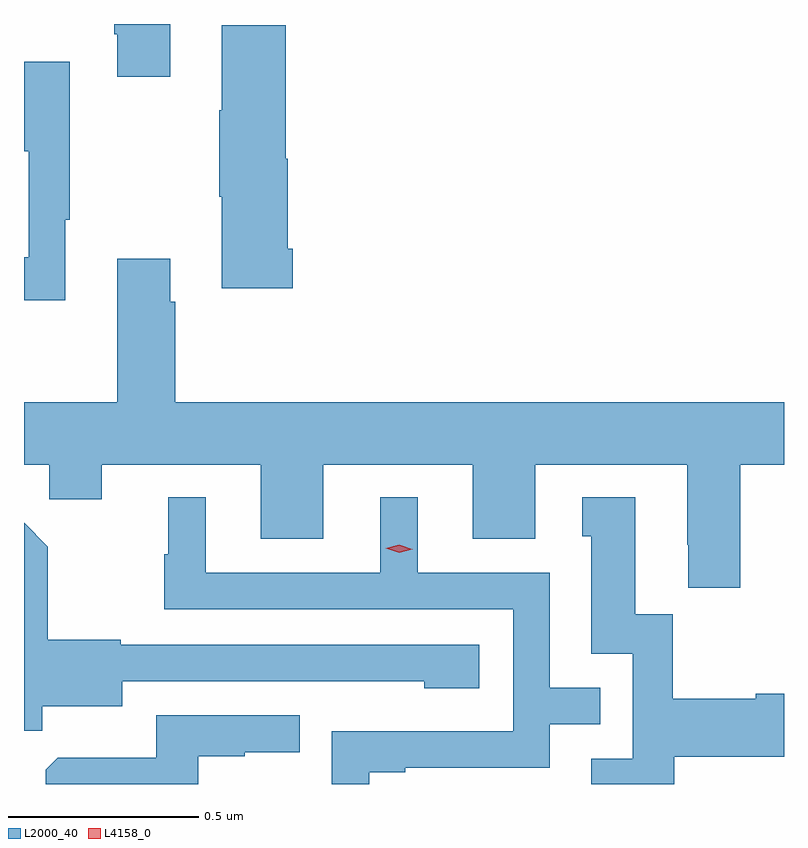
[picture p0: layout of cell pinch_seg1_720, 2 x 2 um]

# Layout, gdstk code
import gdstk
lib = gdstk.Library(unit=1e-6, precision=1e-09)
def P(c, l, *ps):  # polygons
    for p in ps: c.add(gdstk.Polygon(p, *l))
L2000_40 = (2000, 40)
L4158_0 = (4158, 0)

pinch_seg1_720 = lib.new_cell('pinch_seg1_720')
P(pinch_seg1_720, L2000_40, [(745.945,576.868),(745.798,576.868),(745.798,576.841),(745.805,576.841),(745.805,576.729),(745.945,576.729)],
  [(746.267,576.277),(746.254,576.277),(746.254,576.513),(746.249,576.513),(746.249,576.865),(746.081,576.865),(746.081,576.641),(746.074,576.641),(746.074,576.413),(746.081,576.413),(746.081,576.173),(746.267,576.173)],
  [(745.669,576.353),(745.681,576.353),(745.681,576.769),(745.56,576.769),(745.56,576.533),(745.572,576.533),(745.572,576.254),(745.56,576.254),(745.56,576.141),(745.669,576.141)],
  [(747.445,575.708),(747.56,575.708),(747.56,575.872),(745.958,575.872),(745.958,576.137),(745.945,576.137),(745.945,576.25),(745.805,576.25),(745.805,575.872),(745.56,575.872),(745.56,575.708),(745.627,575.708),(745.627,575.618),(745.765,575.618),(745.765,575.708),(746.183,575.708),(746.183,575.514),(746.347,575.514),(746.347,575.708),(746.741,575.708),(746.741,575.514),(746.905,575.514),(746.905,575.708),(747.305,575.708),(747.305,575.497),(747.308,575.497),(747.308,575.385),(747.445,575.385)],
  [(746.469,574.899),(746.563,574.899),(746.563,574.911),(746.943,574.911),(746.943,575.025),(747.077,575.025),(747.077,575.121),(746.943,575.121),(746.943,575.424),(746.596,575.424),(746.596,575.623),(746.498,575.623),(746.498,575.424),(746.038,575.424),(746.038,575.623),(745.94,575.623),(745.94,575.472),(745.929,575.472),(745.929,575.328),(746.847,575.328),(746.847,575.007),(746.37,575.007),(746.37,574.868),(746.469,574.868)],
  [(747.271,574.94),(747.56,574.94),(747.56,575.105),(747.485,575.105),(747.485,575.092),(747.267,575.092),(747.267,575.315),(747.169,575.315),(747.169,575.623),(747.029,575.623),(747.029,575.52),(747.053,575.52),(747.053,575.211),(747.162,575.211),(747.162,574.935),(747.053,574.935),(747.053,574.868),(747.271,574.868)],
  [(745.608,575.072),(745.819,575.072),(745.819,575.139),(746.377,575.139),(746.377,575.138),(746.613,575.138),(746.613,575.12),(746.758,575.12),(746.758,575.235),(745.815,575.235),(745.815,575.248),(745.623,575.248),(745.623,575.493),(745.56,575.556),(745.56,575.008),(745.608,575.008)],
  [(746.018,574.941),(746.141,574.941),(746.141,574.952),(746.285,574.952),(746.285,575.049),(745.908,575.049),(745.908,574.937),(745.649,574.937),(745.617,574.905),(745.617,574.868),(746.018,574.868)])
P(pinch_seg1_720, L4158_0, [(746.547,575.477),(746.512,575.488),(746.511,575.488),(746.512,575.488),(746.547,575.497),(746.582,575.486),(746.583,575.486),(746.582,575.486)])

lib.write_gds('pinch_seg1_720.gds')
